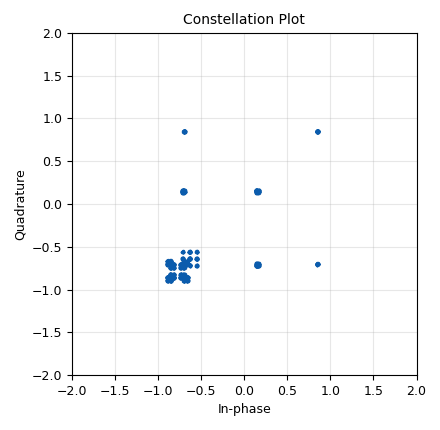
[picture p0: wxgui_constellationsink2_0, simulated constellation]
<?xml version='1.0' encoding='utf-8'?>
<?grc format='1' created='3.7.9'?>
<flow_graph>
<block>
<key>options</key>
<param><key>id</key><value>ber_sim</value></param>
<param><key>author</key><value>Example</value></param>
<param><key>category</key><value>Custom</value></param>
<param><key>description</key><value>Adjust EbNo and check the BER</value></param>
<param><key>generate_options</key><value>wx_gui</value></param>
<param><key>title</key><value>BER Simulation</value></param>
</block>
<block>
<key>variable</key>
<param><key>id</key><value>constellation</value></param>
<param><key>value</key><value>(digital.constellation_bpsk(), digital.constellation_qpsk(), digital.constellation_8psk())</value></param>
</block>
<block>
<key>variable</key>
<param><key>id</key><value>constellation_type</value></param>
<param><key>value</key><value>1</value></param>
</block>
<block>
<key>variable</key>
<param><key>id</key><value>samp_rate</value></param>
<param><key>value</key><value>100000</value></param>
</block>
<block>
<key>variable</key>
<param><key>id</key><value>samples_per_symbol</value></param>
<param><key>value</key><value>2</value></param>
</block>
<block>
<key>analog_random_source_x</key>
<param><key>id</key><value>analog_random_source_x_0</value></param>
<param><key>max</key><value>constellation[constellation_type].arity()</value></param>
<param><key>min</key><value>0</value></param>
<param><key>num_samps</key><value>10000000</value></param>
<param><key>type</key><value>byte</value></param>
<param><key>repeat</key><value>True</value></param>
</block>
<block>
<key>blocks_null_sink</key>
<param><key>id</key><value>blocks_null_sink_0</value></param>
<param><key>bus_conns</key><value>[[0,],]</value></param>
<param><key>type</key><value>byte</value></param>
</block>
<block>
<key>blocks_throttle</key>
<param><key>id</key><value>blocks_throttle_0</value></param>
<param><key>samples_per_second</key><value>samp_rate</value></param>
<param><key>type</key><value>byte</value></param>
</block>
<block>
<key>digital_constellation_modulator</key>
<param><key>id</key><value>digital_constellation_modulator_0</value></param>
<param><key>constellation</key><value>constellation[constellation_type].base()</value></param>
<param><key>differential</key><value>False</value></param>
<param><key>excess_bw</key><value>0.35</value></param>
<param><key>samples_per_symbol</key><value>samples_per_symbol</value></param>
</block>
<block>
<key>digital_constellation_receiver_cb</key>
<param><key>id</key><value>digital_constellation_receiver_cb_0</value></param>
<param><key>constellation</key><value>constellation[constellation_type].base()</value></param>
<param><key>loop_bw</key><value>0.625</value></param>
<param><key>fmax</key><value>100</value></param>
<param><key>fmin</key><value>-100</value></param>
<param><key>showports</key><value>True</value></param>
</block>
<block>
<key>import</key>
<param><key>id</key><value>import</value></param>
<param><key>import</key><value>import math</value></param>
</block>
<block>
<key>wxgui_constellationsink2</key>
<param><key>id</key><value>wxgui_constellationsink2_0</value></param>
<param><key>const_size</key><value>2048</value></param>
<param><key>frame_rate</key><value>5</value></param>
<param><key>gain_mu</key><value>0.005</value></param>
<param><key>loop_bw</key><value>6.28/100.0</value></param>
<param><key>M</key><value>4</value></param>
<param><key>fmax</key><value>0.06</value></param>
<param><key>mu</key><value>0.5</value></param>
<param><key>omega_limit</key><value>0.005</value></param>
<param><key>samp_rate</key><value>samp_rate</value></param>
<param><key>symbol_rate</key><value>samp_rate/4.</value></param>
<param><key>theta</key><value>0</value></param>
<param><key>title</key><value>Constellation Plot</value></param>
</block>
<block>
<key>wxgui_scopesink2</key>
<param><key>id</key><value>wxgui_scopesink2_0</value></param>
<param><key>ac_couple</key><value>False</value></param>
<param><key>num_inputs</key><value>3</value></param>
<param><key>samp_rate</key><value>samp_rate</value></param>
<param><key>t_scale</key><value>0</value></param>
<param><key>title</key><value>Scope Plot</value></param>
<param><key>trig_mode</key><value>wxgui.TRIG_MODE_AUTO</value></param>
<param><key>type</key><value>float</value></param>
<param><key>v_offset</key><value>0</value></param>
<param><key>v_scale</key><value>0</value></param>
<param><key>xy_mode</key><value>False</value></param>
<param><key>y_axis_label</key><value>Counts</value></param>
</block>
<connection><source_block_id>analog_random_source_x_0</source_block_id><sink_block_id>blocks_throttle_0</sink_block_id><source_key>0</source_key><sink_key>0</sink_key></connection>
<connection><source_block_id>blocks_throttle_0</source_block_id><sink_block_id>digital_constellation_modulator_0</sink_block_id><source_key>0</source_key><sink_key>0</sink_key></connection>
<connection><source_block_id>digital_constellation_modulator_0</source_block_id><sink_block_id>digital_constellation_receiver_cb_0</sink_block_id><source_key>0</source_key><sink_key>0</sink_key></connection>
<connection><source_block_id>digital_constellation_modulator_0</source_block_id><sink_block_id>wxgui_constellationsink2_0</sink_block_id><source_key>0</source_key><sink_key>0</sink_key></connection>
<connection><source_block_id>digital_constellation_receiver_cb_0</source_block_id><sink_block_id>wxgui_scopesink2_0</sink_block_id><source_key>1</source_key><sink_key>0</sink_key></connection>
<connection><source_block_id>digital_constellation_receiver_cb_0</source_block_id><sink_block_id>wxgui_scopesink2_0</sink_block_id><source_key>3</source_key><sink_key>2</sink_key></connection>
<connection><source_block_id>digital_constellation_receiver_cb_0</source_block_id><sink_block_id>blocks_null_sink_0</sink_block_id><source_key>0</source_key><sink_key>0</sink_key></connection>
<connection><source_block_id>digital_constellation_receiver_cb_0</source_block_id><sink_block_id>wxgui_scopesink2_0</sink_block_id><source_key>2</source_key><sink_key>1</sink_key></connection>
</flow_graph>
